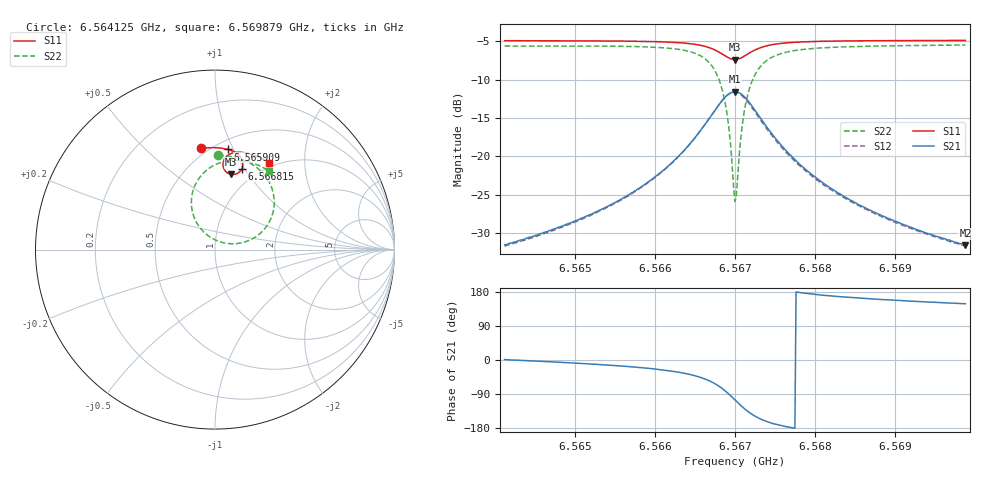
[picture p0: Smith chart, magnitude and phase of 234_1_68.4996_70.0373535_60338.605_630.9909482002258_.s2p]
#  HZ  S  RI  R  50.00
! Rohde & Schwarz Vector Network Analyzer
! Rohde-Schwarz,ZNB20-2Port,1311601062101988,3.16
! Created: UTC 3/20/2024, 4:59:04 PM
! freq[Hz]  re:S11  im:S11  re:S21  im:S21  re:S12  im:S12  re:S22  im:S22
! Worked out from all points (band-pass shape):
!   401 points, 6.564125 GHz to 6.569879 GHz, reference 50 ohm
!   highest |S21| = -11.55 dB at 6.567002 GHz (marker M1); lowest = -31.6 dB at 6.569879 GHz (marker M2)
!   |S21| within 3 dB of the highest: 6.566714 GHz to 6.56729 GHz (575.8 kHz wide, 0.00877 % of centre)
!   lowest |S11| = -7.4 dB at 6.567002 GHz (marker M3), VSWR 2.50, Z = 40.5 + j41.6 ohm
!   |S11| at or under -10 dB: nowhere
!   |S22| runs from -25.9 to -5.5 dB; largest |S21 - S12| = 0.012
!   S11 on the Smith chart (normalised r, x): 6.564125 GHz: 0.46, +0.76; 6.565909 GHz: 0.58, +0.95; 6.566815 GHz: 0.84, +0.97; 6.569879 GHz: 0.93, +1.34
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6.5641248e9  -0.0806 0.5634  0.0265 0.000601  0.026 -3.5e-05  0.0183 0.525
6.5650887e9  -0.00251 0.5681  0.039 -0.00637  0.0384 -0.00694  0.1071 0.5143
6.5659087e9  0.0718 0.5583  0.0627 -0.025  0.0618 -0.0258  0.2065 0.4751
6.5660526e9  0.0865 0.5538  0.07 -0.0326  0.0688 -0.0333  0.2294 0.4598
6.5663547e9  0.12 0.5369  0.0889 -0.0609  0.0875 -0.0622  0.285 0.4035
6.5665705e9  0.1445 0.5111  0.1025 -0.1056  0.1004 -0.1077  0.324 0.3173
6.5667144e9  0.1547 0.4802  0.0987 -0.1594  0.0947 -0.1624  0.3247 0.2143
6.5668151e9  0.1494 0.4509  0.0722 -0.2101  0.0657 -0.213  0.2792 0.1192
6.5669014e9  0.1289 0.4271  0.0202 -0.2492  0.0104 -0.2497  0.1842 0.0488
6.5669302e9  0.1183 0.4217  -0.00378 -0.2567  -0.0144 -0.2559  0.1411 0.0362
6.5669877e9  0.0938 0.4185  -0.0567 -0.2582  -0.0678 -0.2536  0.0469 0.0383
6.5670021e9  0.0876 0.4195  -0.0702 -0.2551  -0.0809 -0.2497  0.0237 0.045
6.5670309e9  0.0756 0.4236  -0.0956 -0.2453  -0.1053 -0.238  -0.0197 0.0651
6.5670884e9  0.0567 0.4385  -0.1368 -0.2133  -0.1437 -0.2036  -0.0869 0.1263
6.5671316e9  0.0481 0.4533  -0.1568 -0.1835  -0.1611 -0.1732  -0.1166 0.1809
6.5671891e9  0.0442 0.4737  -0.1694 -0.1435  -0.1708 -0.1335  -0.1314 0.2522
6.567261e9  0.0482 0.4955  -0.1691 -0.1007  -0.1682 -0.0923  -0.1229 0.3264
6.56752e9  0.0872 0.5344  -0.1269 -0.022  -0.1241 -0.0184  -0.0268 0.457
6.567966e9  0.1455 0.5424  -0.0755 0.00814  -0.0737 0.00904  0.0939 0.497
6.5683832e9  0.1869 0.5352  -0.0524 0.0131  -0.0512 0.0137  0.161 0.4936
6.5689299e9  0.2325 0.5196  -0.0364 0.0144  -0.0356 0.0147  0.2231 0.4772
6.5698794e9  0.3015 0.485  -0.0224 0.0139  -0.022 0.0139  0.3029 0.4383
